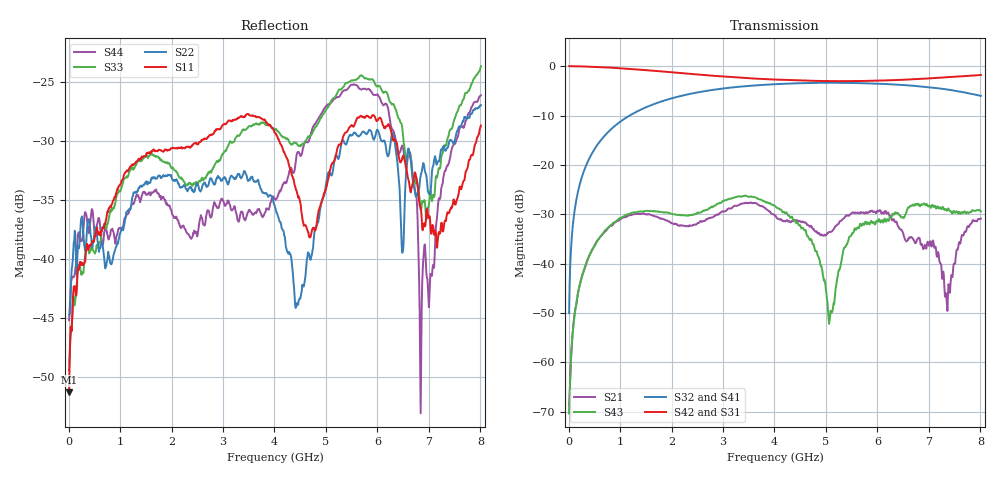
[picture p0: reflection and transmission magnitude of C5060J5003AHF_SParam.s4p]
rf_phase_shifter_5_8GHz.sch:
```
<Qucs Schematic 0.0.20>
<Properties>
  <View=-733,-389,1653,1006,1,653,0>
  <Grid=10,10,1>
  <DataSet=rf_phase_shifter_5_8GHz.dat>
  <DataDisplay=rf_phase_shifter_5_8GHz.dpl>
  <OpenDisplay=1>
  <Script=rf_phase_shifter_5_8GHz.m>
  <RunScript=0>
  <showFrame=0>
  <FrameText0=Title>
  <FrameText1=Drawn By:>
  <FrameText2=Date:>
  <FrameText3=Revision:>
</Properties>
<Symbol>
  <.ID -20 -16 SUB>
  <Line -20 20 40 0 #000080 2 1>
  <Line 20 20 0 -40 #000080 2 1>
  <Line -20 -20 40 0 #000080 2 1>
  <Line -20 20 0 -40 #000080 2 1>
</Symbol>
<Components>
  <C C1 1 190 470 -32 -72 0 0 "100 pF" 1 "" 0 "neutral" 0>
  <C C2 1 190 680 -26 17 0 0 "100 pF" 1 "" 0 "neutral" 0>
  <GND * 5 120 820 0 0 0 0>
  <GND * 5 60 590 0 0 0 0>
  <GND * 5 750 580 0 0 0 0>
  <GND * 5 940 580 0 0 0 0>
  <GND * 5 750 780 0 0 0 0>
  <GND * 5 940 780 0 0 0 0>
  <Pac P1 1 60 530 18 -26 0 1 "1" 1 "50 Ohm" 1 "0 dBm" 0 "2.45 GHz" 0 "26.85" 0>
  <Pac P2 1 120 760 18 -26 0 1 "2" 1 "50 Ohm" 1 "-100 dBm" 0 "2.45 GHz" 0 "26.85" 0>
  <GND * 5 480 620 0 0 0 0>
  <Vdc V1 1 410 370 -95 -25 0 1 "v_bias" 1>
  <GND * 5 410 420 0 0 0 0>
  <SUBST Subst1 1 50 40 -30 24 0 0 "4.5" 1 "0.6 mm" 1 "35 um" 1 "0.03" 1 "0.022e-6" 1 "2.388e-3" 1>
  <.DC DC1 1 390 0 0 46 0 0 "26.85" 0 "0.001" 0 "1 pA" 0 "1 uV" 0 "no" 0 "150" 0 "no" 0 "none" 0 "CroutLU" 0>
  <.SW SW1 1 590 0 0 78 0 0 "AC1" 1 "lin" 1 "v_bias" 1 "0 V" 1 "3.3 V" 1 "1111" 1>
  <Eqn S_param_db_calc 1 1290 10 -31 19 0 0 "dBS11=dB(S[1,1])" 1 "dBS12=dB(S[1,2])" 1 "dBS21=dB(S[2,1])" 1 "dBS22=dB(S[2,2])" 1 "yes" 0>
  <Eqn Transmission_line_params 1 190 10 -31 19 0 0 "tl13_width_m=0.0007903" 1 "tl13_length_m=0.008944" 1 "tl24_width_m=0.004673" 1 "tl24_length_m=0.0065277" 1 "yes" 0>
  <MLIN MS1 1 640 470 -26 15 0 0 "Subst1" 1 "tl13_width_m" 1 "tl13_length_m" 1 "Hammerstad" 0 "Kirschning" 0 "26.85" 0>
  <MLIN MS3 1 640 680 -26 15 0 0 "Subst1" 1 "tl13_width_m" 1 "tl13_length_m" 1 "Hammerstad" 0 "Kirschning" 0 "26.85" 0>
  <MLIN MS2 1 830 470 -26 15 0 0 "Subst1" 1 "tl24_width_m" 1 "tl24_length_m" 1 "Hammerstad" 0 "Kirschning" 0 "26.85" 0>
  <MLIN MS4 1 830 680 -26 15 0 0 "Subst1" 1 "tl24_width_m" 1 "tl24_length_m" 1 "Hammerstad" 0 "Kirschning" 0 "26.85" 0>
  <L L2 1 452 388 10 -26 0 1 "220 nH" 1 "" 0>
  <L L1 1 550 390 10 -26 0 1 "220 nH" 1 "" 0>
  <.AC AC1 1 390 90 0 46 0 0 "lin" 1 "5.725 GHz" 1 "5.875 GHz" 1 "3" 1 "no" 0>
  <Eqn Eqn1 1 940 10 -31 19 0 0 "phase_shift=rad2deg(angle(out.v) - angle(in.v))" 1 "attenuation=dB(mag(out.v)/mag(in.v))" 1 "att_5_725GHz=attenuation[:,0]" 1 "att_5_8GHz=attenuation[:,1]" 1 "att_5_875GHz=attenuation[:,2]" 1 "pha_shift_5_725GHz=phase_shift[:,0]" 1 "pha_shift_5_8GHz=phase_shift[:,1]" 1 "pha_shift_5_875GHz=phase_shift[:,2]" 1 "out_v_5_725GHz=out.v[:,0]" 1 "out_v_5_8GHz=out.v[:,1]" 1 "out_v_5_875GHz=out.v[:,2]" 1 "yes" 0>
  <SPfile X8 1 380 570 -117 118 1 3 "./sim_lib/C5060J5003AHF_SParam.s4p" 1 "rectangular" 0 "linear" 0 "unspecified" 0 "4" 0>
  <.SP SP1 1 740 0 0 77 0 0 "lin" 1 "5.725 GHz" 1 "5.875GHz" 1 "1001" 1 "no" 0 "1" 0 "2" 0 "no" 0 "no" 0>
  <Sub SUB1 1 750 530 -15 -123 0 1 "SMV1763-079LF.sch" 1>
  <Sub SUB3 1 940 520 19 -18 0 1 "SMV1763-079LF.sch" 1>
  <Sub SUB2 1 750 730 -16 82 0 1 "SMV1763-079LF.sch" 1>
  <Sub SUB4 1 940 730 21 -17 0 1 "SMV1763-079LF.sch" 1>
</Components>
<Wires>
  <750 470 750 510 "" 0 0 0 "">
  <750 560 750 580 "" 0 0 0 "">
  <940 550 940 580 "" 0 0 0 "">
  <750 760 750 780 "" 0 0 0 "">
  <940 760 940 780 "" 0 0 0 "">
  <750 680 750 710 "" 0 0 0 "">
  <60 560 60 590 "" 0 0 0 "">
  <60 470 160 470 "in" 30 430 0 "">
  <60 470 60 500 "" 0 0 0 "">
  <120 790 120 820 "" 0 0 0 "">
  <120 680 160 680 "" 0 0 0 "">
  <120 680 120 730 "" 0 0 0 "">
  <410 320 452 320 "" 0 0 0 "">
  <410 400 410 420 "" 0 0 0 "">
  <410 320 410 340 "" 0 0 0 "">
  <670 470 750 470 "" 0 0 0 "">
  <670 680 750 680 "" 0 0 0 "">
  <940 470 940 500 "" 0 0 0 "">
  <860 470 940 470 "" 0 0 0 "">
  <750 470 800 470 "" 0 0 0 "">
  <940 680 940 710 "" 0 0 0 "">
  <860 680 940 680 "" 0 0 0 "">
  <750 680 800 680 "" 0 0 0 "">
  <452 320 452 358 "" 0 0 0 "">
  <452 470 610 470 "" 0 0 0 "">
  <452 418 452 470 "" 0 0 0 "">
  <452 320 550 320 "" 0 0 0 "">
  <550 320 550 360 "" 0 0 0 "">
  <550 680 610 680 "" 0 0 0 "">
  <550 420 550 680 "" 0 0 0 "">
  <480 570 480 620 "" 0 0 0 "">
  <440 570 480 570 "" 0 0 0 "">
  <410 680 550 680 "" 0 0 0 "">
  <410 600 410 680 "" 0 0 0 "">
  <410 470 452 470 "" 0 0 0 "">
  <410 470 410 540 "" 0 0 0 "">
  <220 680 350 680 "" 0 0 0 "">
  <350 600 350 680 "" 0 0 0 "">
  <220 470 350 470 "" 0 0 0 "">
  <350 470 350 540 "" 0 0 0 "">
  <120 680 120 680 "out" 80 640 0 "">
  <550 320 550 320 "bias" 560 280 0 "">
</Wires>
<Diagrams>
</Diagrams>
<Paintings>
</Paintings>
```
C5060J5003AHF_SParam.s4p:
! Port 1 = Pin 1 = Input
! Port 2 = Pin 3 = Isolated Port
! Port 3 = Pin 4 = Direct Port
! Port 4 = Pin 6 = Coupled Port
# MHZ S DB R 50
!FREQ(MHz)  !S11dB  !S11deg  !S12dB  !S12deg  !S13dB  !S13deg  !S14dB  !S14deg  !S21dB  !S21deg  !S22dB  !S22deg  !S23dB  !S23deg  !S24dB  !S24deg  !S31dB  !S31deg  !S32dB  !S32deg  !S33dB  !S33deg  !S34dB  !S34deg  !S41dB  !S41deg  !S42dB  !S42deg  !S43dB  !S43deg  !S44dB  !S44deg
!Freq  dBS11  angS11  dBS12  angS12  dBS13  angS13  dBS14  angS14
!  dBS21  angS21  dBS22  angS22  dBS23  angS23  dBS24  angS24
!  dBS31  angS31  dBS32  angS32  dBS33  angS33  dBS34  angS34
!  dBS41  angS41  dBS42  angS42  dBS43  angS43  dBS44  angS44
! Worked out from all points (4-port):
!   801 points, 10 MHz to 8.01 GHz, reference 50 ohm
!   strongest paths, dB at 10 MHz, 2.01 GHz, 4.01 GHz, 6.01 GHz, 8.01 GHz:
!     S42: 0.0, -1.2, -2.7, -2.9, -1.8
!     S31: 0.0, -1.3, -2.8, -3.0, -1.9
!     S32: -50.0, -6.5, -3.6, -3.5, -6.0
!     S41: -50.0, -6.5, -3.6, -3.6, -6.0
!     S43: -70.3, -29.9, -28.3, -31.5, -29.4
!     S21: -70.2, -31.8, -30.3, -29.3, -30.9
!   lowest |S11| = -51.3 dB at 10 MHz (marker M1), VSWR 1.01, Z = 50.3 + j0.0808 ohm
!   |S11| at or under -10 dB: start of sweep to end of sweep
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10  -51.26 17.1  -69.94 163.8  -0.01 -0.2  -50.04 84.5
    -70.19 168.0  -44.69 8.5  -50.07 84.2  0.01 -0.2
    -0.01 -0.3  -50.02 83.9  -49.39 21.4  -70.64 164.1
    -50.02 84.3  0.01 -0.2  -70.30 162.6  -45.15 11.4
1110  -32.59 -119.0  -30.76 39.9  -0.51 -29.3  -10.48 59.9
      -30.55 39.5  -36.43 -134.0  -10.48 59.9  -0.49 -29.3
      -0.51 -29.3  -10.48 59.9  -33.05 -112.4  -30.29 45.3
      -10.48 59.9  -0.49 -29.3  -30.20 45.3  -36.33 -98.0
8010  -28.65 -119.4  -33.50 113.8  -1.84 -158.4  -6.01 -64.9
      -30.87 107.0  -26.93 -151.8  -6.00 -64.2  -1.78 -158.9
      -1.86 -158.5  -6.01 -64.4  -23.62 -113.2  -29.54 172.7
      -6.01 -64.9  -1.78 -158.9  -29.40 154.9  -26.10 -123.9
